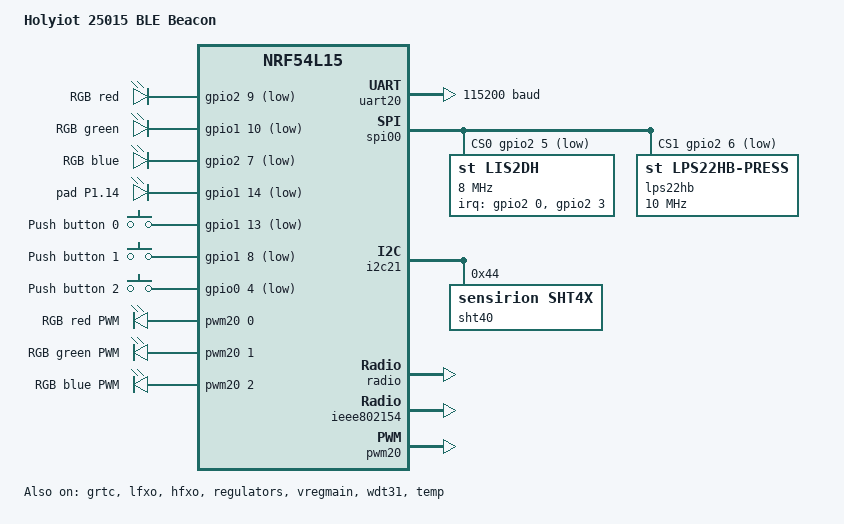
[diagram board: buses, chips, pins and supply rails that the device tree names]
/dts-v1/;
#include <nordic/nrf54l15_cpuapp.dtsi>
#include "holyiot_25015-pinctrl.dtsi"
#include <zephyr/dt-bindings/pwm/pwm.h>

/ {
	model = "Holyiot 25015 BLE Beacon";
	compatible = "holyiot,holyiot-25015-cpuapp";

	chosen {
		zephyr,code-partition = &slot0_partition;
		zephyr,sram = &cpuapp_sram;
		zephyr,flash = &cpuapp_rram;
		zephyr,flash-controller = &rram_controller;
		/* Required on NCS v3.0: openthread/platform/radio.c asks for it
		 * explicitly. On v3.2 (which the board was written against) it
		 * is implicit. */
		zephyr,ieee802154 = &ieee802154;
	};

	/*
	 * The module has ONE SINGLE RGB LED, one GPIO per color - it is NOT
	 * addressable (no WS2812), and there are not four separate LEDs, as the
	 * community definition we started from suggested.
	 *
	 * Confirmed by the official Zephyr documentation for holyiot_25008:
	 * P2.09 red, P1.10 green, P2.07 blue.
	 *
	 * All active LOW: drive the pin to 0 to light it.
	 * The node names led0..led2 stay, because DK_LED1..3 map onto them by
	 * order - Identify uses DK_LED2, i.e. led1 = green.
	 */
	leds {
		compatible = "gpio-leds";

		led0: led_0 {
			gpios = <&gpio2 9 GPIO_ACTIVE_LOW>;
			label = "RGB red";
		};

		led1: led_1 {
			gpios = <&gpio1 10 GPIO_ACTIVE_LOW>;
			label = "RGB green";
		};

		led2: led_2 {
			gpios = <&gpio2 7 GPIO_ACTIVE_LOW>;
			label = "RGB blue";
		};

		/* The fourth LED does not appear in the official documentation -
		 * most likely just a broken-out pad, unpopulated. Kept for
		 * compatibility. */
		led3: led_3 {
			gpios = <&gpio1 14 GPIO_ACTIVE_LOW>;
			label = "pad P1.14";
		};
	};

	buttons {
		compatible = "gpio-keys";

		/* P1.09 is used for I2C21 SCL (SHT40), so the physical button
		 * moves to button0 here instead of appearing as button1 as on 25008 */
		button0: button_0 {
			gpios = <&gpio1 13 (GPIO_PULL_UP | GPIO_ACTIVE_LOW)>;
			label = "Push button 0";
			zephyr,code = <INPUT_KEY_0>;
		};

		button1: button_1 {
			gpios = <&gpio1 8 (GPIO_PULL_UP | GPIO_ACTIVE_LOW)>;
			label = "Push button 1";
			zephyr,code = <INPUT_KEY_1>;
		};

		button2: button_2 {
			gpios = <&gpio0 4 (GPIO_PULL_UP | GPIO_ACTIVE_LOW)>;
			label = "Push button 2";
			zephyr,code = <INPUT_KEY_2>;
		};
	};

	aliases {
		led0 = &led0;
		/* Readable names for the RGB LED. led0/1/2 stay, because
		 * DK_LED1..3 map onto them by order. */
		led-red = &led0;
		led-green = &led1;
		led-blue = &led2;
		led1 = &led1;
		led2 = &led2;
		led3 = &led3;
		sw0 = &button0;
		sw1 = &button1;
		sw2 = &button2;
		watchdog0 = &wdt31;
		accel0 = &lis2dh;
		env0 = &sht40;
	};
};

/*
 * Console. The node is declared so it is available, but CONFIG_SERIAL and
 * CONFIG_CONSOLE are off in boards/holyiot_*.conf: with them on, two image
 * slots for OTA no longer fit. For a debug build, turn them back on and run two
 * wires off P1.04 / P1.05.
 */
&uart20 {
	current-speed = <115200>;
	pinctrl-0 = <&uart20_default>;
	pinctrl-1 = <&uart20_sleep>;
	pinctrl-names = "default", "sleep";
	status = "okay";
};

&grtc {
	owned-channels = <0 1 2 3 4 5 6 7 8 9 10 11>;
	/* Channels 7-11 reserved for Zero Latency IRQs, 3-4 for FLPR */
	child-owned-channels = <3 4 7 8 9 10 11>;
	status = "okay";
};

&cpuapp_sram {
	status = "okay";
};

&pinctrl {
	/* pinctrl nodes defined in holyiot_25015-pinctrl.dtsi */
};

&spi00 {
	status = "okay";
	cs-gpios = <&gpio2 5 GPIO_ACTIVE_LOW>, <&gpio2 6 GPIO_ACTIVE_LOW>;
	pinctrl-0 = <&spi00_default>;
	pinctrl-1 = <&spi00_sleep>;
	pinctrl-names = "default", "sleep";

	lis2dh: lis2dh@0 {
		compatible = "st,lis2dh", "st,lis2dh12";
		reg = <0>;
		spi-max-frequency = <8000000>;
		irq-gpios = <&gpio2 0 GPIO_ACTIVE_HIGH>, <&gpio2 3 GPIO_ACTIVE_HIGH>;
		status = "okay";
	};

	/* LPS22HB pressure sensor on SPI (no Zephyr SPI driver — read via raw SPI in app) */
	lps22hb: lps22hb@1 {
		compatible = "st,lps22hb-press";
		reg = <1>;
		spi-max-frequency = <10000000>;
		status = "okay";
	};
};

&i2c21 {
	status = "okay";
	pinctrl-0 = <&i2c21_default>;
	pinctrl-1 = <&i2c21_sleep>;
	pinctrl-names = "default", "sleep";

	sht40: sht4x@44 {
		compatible = "sensirion,sht4x";
		reg = <0x44>;
		repeatability = <2>;
		status = "okay";
	};
};

&lfxo {
	load-capacitors = "internal";
	load-capacitance-femtofarad = <16000>;
	status = "okay";
};

&hfxo {
	load-capacitors = "internal";
	load-capacitance-femtofarad = <15000>;
	status = "okay";
};

&regulators {
	status = "okay";
};

&vregmain {
	status = "okay";
	regulator-initial-mode = <NRF5X_REG_MODE_DCDC>;
};

&gpio0 {
	status = "okay";
};

&gpio1 {
	status = "okay";
};

&gpio2 {
	status = "okay";
};

&gpiote20 {
	status = "okay";
};

&gpiote30 {
	status = "okay";
};

&wdt31 {
	status = "okay";
};

&radio {
	status = "okay";
};

&ieee802154 {
	status = "okay";
};

&temp {
	status = "okay";
};

&clock {
	status = "okay";
};

/* The upstream repo (uAmpHome/micro_matter_button) targeted NCS v3.2.4, where
 * <nordic/nrf54l15_partition.dtsi> exists. On NCS v3.0 that file does not exist
 * yet - partitions are defined at board level. The table below is identical to
 * the one in zephyr/boards/nordic/nrf54l15dk/nrf54l15dk_nrf54l15_cpuapp.dts.
 */
&cpuapp_rram {
	partitions {
		compatible = "fixed-partitions";
		#address-cells = <1>;
		#size-cells = <1>;

		boot_partition: partition@0 {
			label = "mcuboot";
			reg = <0x0 DT_SIZE_K(64)>;
		};
		slot0_partition: partition@10000 {
			label = "image-0";
			reg = <0x10000 DT_SIZE_K(324)>;
		};
		slot0_ns_partition: partition@61000 {
			label = "image-0-nonsecure";
			reg = <0x61000 DT_SIZE_K(324)>;
		};
		slot1_partition: partition@b2000 {
			label = "image-1";
			reg = <0xb2000 DT_SIZE_K(324)>;
		};
		slot1_ns_partition: partition@103000 {
			label = "image-1-nonsecure";
			reg = <0x103000 DT_SIZE_K(324)>;
		};
		/* 32k from 0x154000 to 0x15bfff reserved for TF-M partitions */
		storage_partition: partition@15c000 {
			label = "storage";
			reg = <0x15c000 DT_SIZE_K(36)>;
		};
	};
};

/*
 * The RGB LED, driven with PWM. The gpio-leds nodes above stay for
 * dk_buttons_and_leds and for any code that only wants on/off, but the
 * application uses the PWM channels - see src/status_led.cpp.
 *
 * PWM_POLARITY_INVERTED because the LEDs are active-low: duty 0 = off. The
 * pwm_nrfx driver stops the peripheral when duty is 0 or 100% and parks the pin
 * in GPIO, so an LED that is off draws no current - which matters on battery.
 */
&pwm20 {
	status = "okay";
	pinctrl-0 = <&pwm20_default>;
	pinctrl-1 = <&pwm20_sleep>;
	pinctrl-names = "default", "sleep";
};

/ {
	pwmleds {
		compatible = "pwm-leds";

		pwm_led_red: pwm_led_0 {
			pwms = <&pwm20 0 PWM_MSEC(1) PWM_POLARITY_INVERTED>;
			label = "RGB red PWM";
		};

		pwm_led_green: pwm_led_1 {
			pwms = <&pwm20 1 PWM_MSEC(1) PWM_POLARITY_INVERTED>;
			label = "RGB green PWM";
		};

		pwm_led_blue: pwm_led_2 {
			pwms = <&pwm20 2 PWM_MSEC(1) PWM_POLARITY_INVERTED>;
			label = "RGB blue PWM";
		};
	};
};
